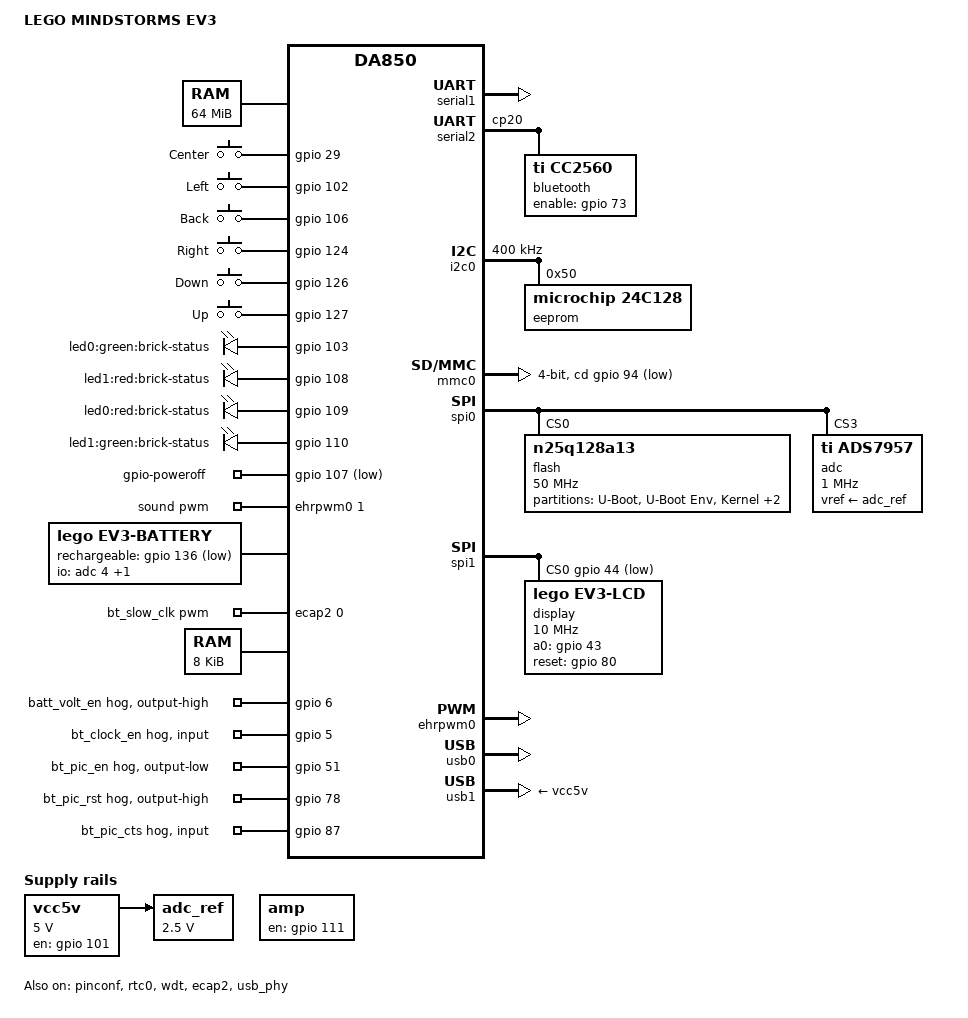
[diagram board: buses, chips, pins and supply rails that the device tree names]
/*
 * Device tree for LEGO MINDSTORMS EV3
 *
 * Copyright (C) 2017 David Lechner <david@lechnology.com>
 *
 * This program is free software; you can redistribute  it and/or modify it
 * under  the terms of  the GNU General  Public License as published by the
 * Free Software Foundation, version 2.
 */

/dts-v1/;
#include <dt-bindings/gpio/gpio.h>
#include <dt-bindings/input/linux-event-codes.h>
#include <dt-bindings/pwm/pwm.h>

#include "da850.dtsi"

/ {
	compatible = "lego,ev3", "ti,da850";
	model = "LEGO MINDSTORMS EV3";

	aliases {
		serial1 = &serial1;
	};

	memory@c0000000 {
		device_type = "memory";
		reg = <0xc0000000 0x04000000>;
	};

	/*
	 * The buttons on the EV3 are mapped to keyboard keys.
	 */
	gpio_keys {
		compatible = "gpio-keys";
		label = "EV3 Brick Buttons";
		pinctrl-names = "default";
		pinctrl-0 = <&button_bias>;

		center {
			label = "Center";
			linux,code = <KEY_ENTER>;
			gpios = <&gpio 29 GPIO_ACTIVE_HIGH>;
		};

		left {
			label = "Left";
			linux,code = <KEY_LEFT>;
			gpios = <&gpio 102 GPIO_ACTIVE_HIGH>;
		};

		back {
			label = "Back";
			linux,code = <KEY_BACKSPACE>;
			gpios = <&gpio 106 GPIO_ACTIVE_HIGH>;
		};

		right {
			label = "Right";
			linux,code = <KEY_RIGHT>;
			gpios = <&gpio 124 GPIO_ACTIVE_HIGH>;
		};

		down {
			label = "Down";
			linux,code = <KEY_DOWN>;
			gpios = <&gpio 126 GPIO_ACTIVE_HIGH>;
		};

		up {
			label = "Up";
			linux,code = <KEY_UP>;
			gpios = <&gpio 127 GPIO_ACTIVE_HIGH>;
		};
	};

	/*
	 * The EV3 has two built-in bi-color LEDs behind the buttons.
	 */
	leds {
		compatible = "gpio-leds";

		left_green {
			label = "led0:green:brick-status";
			/* GP6[13] */
			gpios = <&gpio 103 GPIO_ACTIVE_HIGH>;
			linux,default-trigger = "default-on";
		};

		right_red {
			label = "led1:red:brick-status";
			/* GP6[7] */
			gpios = <&gpio 108 GPIO_ACTIVE_HIGH>;
			linux,default-trigger = "default-on";
		};

		left_red {
			label = "led0:red:brick-status";
			/* GP6[12] */
			gpios = <&gpio 109 GPIO_ACTIVE_HIGH>;
			linux,default-trigger = "default-on";
		};

		right_green {
			label = "led1:green:brick-status";
			/* GP6[14] */
			gpios = <&gpio 110 GPIO_ACTIVE_HIGH>;
			linux,default-trigger = "default-on";
		};
	};

	/*
	 * The EV3 is powered down by turning off the main 5V supply.
	 */
	gpio-poweroff {
		compatible = "gpio-poweroff";
		gpios = <&gpio 107 GPIO_ACTIVE_LOW>;
	};

	sound {
		compatible = "pwm-beeper";
		pinctrl-names = "default";
		pinctrl-0 = <&ehrpwm0b_pins>;
		pwms = <&ehrpwm0 1 1000000 0>;
		amp-supply = <&amp>;
	};

	/*
	 * This is a 5V current limiting regulator that is shared by USB,
	 * the sensor (input) ports, the motor (output) ports and the A/DC.
	 */
	vcc5v: regulator1 {
		compatible = "regulator-fixed";
		regulator-name = "vcc5v";
		regulator-min-microvolt = <5000000>;
		regulator-max-microvolt = <5000000>;
		gpio = <&gpio 101 0>;
		over-current-gpios = <&gpio 99 GPIO_ACTIVE_LOW>;
		enable-active-high;
		regulator-boot-on;
	};

	/*
	 * This is a simple voltage divider on VCC5V to provide a 2.5V
	 * reference signal to the ADC.
	 */
	adc_ref: regulator2 {
		compatible = "regulator-fixed";
		regulator-name = "adc ref";
		regulator-min-microvolt = <2500000>;
		regulator-max-microvolt = <2500000>;
		regulator-boot-on;
		vin-supply = <&vcc5v>;
	};

	/*
	 * This is the amplifier for the speaker.
	 */
	amp: regulator3 {
		compatible = "regulator-fixed";
		regulator-name = "amp";
		gpio = <&gpio 111 GPIO_ACTIVE_HIGH>;
		enable-active-high;
	};

	/*
	 * The EV3 can use 6-AA batteries or a rechargeable Li-ion battery pack.
	 */
	battery {
		compatible = "lego,ev3-battery";
		io-channels = <&adc 4>, <&adc 3>;
		io-channel-names = "voltage", "current";
		rechargeable-gpios = <&gpio 136 GPIO_ACTIVE_LOW>;
	};

	bt_slow_clk: bt-clock {
		pinctrl-names = "default";
		pinctrl-0 = <&ecap2_pins>, <&bt_clock_bias>;
		compatible = "pwm-clock";
		#clock-cells = <0>;
		clock-frequency = <32768>;
		pwms = <&ecap2 0 30518 0>;
	};

	/* ARM local RAM */
	memory@ffff0000 {
		compatible = "syscon", "simple-mfd";
		reg = <0xffff0000 0x2000>; /* 8k */

		/*
		 * The I2C bootloader looks for this magic value to either
		 * boot normally or boot into a firmware update mode.
		 */
		reboot-mode {
			compatible = "syscon-reboot-mode";
			offset = <0x1ffc>;
			mode-normal = <0x00000000>;
			mode-loader = <0x5555aaaa>;
		};
	};
};

&ref_clk {
	clock-frequency = <24000000>;
};

&pmx_core {
	status = "okay";

	ev3_lcd_pins: pinmux_lcd {
		pinctrl-single,bits = <
			/* SIMO, CLK */
			0x14 0x00100100 0x00f00f00
		>;
	};
};

&pinconf {
	status = "okay";

	/* Buttons have external pulldown resistors */
	button_bias: button-bias-groups {
		disable {
			groups = "cp5", "cp24", "cp25", "cp28";
			bias-disable;
		};
	};

	bt_clock_bias: bt-clock-bias-groups {
		disable {
			groups = "cp2";
			bias-disable;
		};
	};

	bt_pic_bias: bt-pic-bias-groups {
		disable {
			groups = "cp20";
			bias-disable;
		};
	};
};

/* Input port 1 */
&serial1 {
	status = "okay";
	pinctrl-names = "default";
	pinctrl-0 = <&serial1_rxtx_pins>;
};

&serial2 {
	pinctrl-names = "default";
	pinctrl-0 = <&serial2_rxtx_pins>, <&serial2_rtscts_pins>, <&bt_pic_bias>;
	status = "okay";

	bluetooth {
		compatible = "ti,cc2560";
		clocks = <&bt_slow_clk>;
		clock-names = "ext_clock";
		enable-gpios = <&gpio 73 GPIO_ACTIVE_HIGH>;
		max-speed = <2000000>;
		nvmem-cells = <&bdaddr>;
		nvmem-cell-names = "bd-address";
	};
};

&rtc0 {
	status = "okay";
};

&i2c0 {
	status = "okay";
	clock-frequency = <400000>;
	pinctrl-names = "default";
	pinctrl-0 = <&i2c0_pins>;

	/*
	 * EEPROM contains the first stage bootloader, HW ID and Bluetooth MAC.
	 */
	eeprom@50 {
		compatible = "microchip,24c128", "atmel,24c128";
		pagesize = <64>;
		read-only;
		reg = <0x50>;
		#address-cells = <1>;
		#size-cells = <1>;

		bdaddr: bdaddr@3f06 {
			reg = <0x3f06 0x06>;
		};
	};
};

&wdt {
	status = "okay";
};

&mmc0 {
	status = "okay";
	max-frequency = <50000000>;
	bus-width = <4>;
	cd-gpios = <&gpio 94 GPIO_ACTIVE_LOW>;
	pinctrl-names = "default";
	pinctrl-0 = <&mmc0_pins>;
};

&spi0 {
	status = "okay";
	pinctrl-names = "default";
	pinctrl-0 = <&spi0_pins>, <&spi0_cs0_pin>, <&spi0_cs3_pin>;

	flash@0 {
		compatible = "n25q128a13", "jedec,spi-nor";
		reg = <0>;
		spi-max-frequency = <50000000>;
		ti,spi-wdelay = <8>;

		/* Partitions are based on the official firmware from LEGO */
		partitions {
			compatible = "fixed-partitions";
			#address-cells = <1>;
			#size-cells = <1>;

			partition@0 {
				label = "U-Boot";
				reg = <0 0x40000>;
			};

			partition@40000 {
				label = "U-Boot Env";
				reg = <0x40000 0x10000>;
			};

			partition@50000 {
				label = "Kernel";
				reg = <0x50000 0x200000>;
			};

			partition@250000 {
				label = "Filesystem";
				reg = <0x250000 0xa50000>;
			};

			partition@cb0000 {
				label = "Storage";
				reg = <0xcb0000 0x2f0000>;
			};
		};
	};

	adc: adc@3 {
		compatible = "ti,ads7957";
		reg = <3>;
		#io-channel-cells = <1>;
		spi-max-frequency = <1000000>;
		ti,spi-wdelay = <63>;
		vref-supply = <&adc_ref>;
	};
};

&spi1 {
	status = "okay";
	pinctrl-0 = <&ev3_lcd_pins>;
	pinctrl-names = "default";
	cs-gpios = <&gpio 44 GPIO_ACTIVE_LOW>;

	display@0{
		compatible = "lego,ev3-lcd";
		reg = <0>;
		spi-max-frequency = <10000000>;
		a0-gpios = <&gpio 43 GPIO_ACTIVE_HIGH>;
		reset-gpios = <&gpio 80 GPIO_ACTIVE_HIGH>;
	};
};

&ecap2 {
	status = "okay";
};

&ehrpwm0 {
	status = "okay";
};

&gpio {
	status = "okay";

	/* Don't pull down battery voltage adc io channel */
	batt_volt_en {
		gpio-hog;
		gpios = <6 GPIO_ACTIVE_HIGH>;
		output-high;
	};

	/* Don't impede Bluetooth clock signal */
	bt_clock_en {
		gpio-hog;
		gpios = <5 GPIO_ACTIVE_HIGH>;
		input;
	};

	/*
	 * There is a PIC microcontroller for interfacing with an Apple MFi
	 * chip. This interferes with normal Bluetooth operation, so we need
	 * to make sure it is turned off. Note: The publicly available
	 * schematics from LEGO don't show that these pins are connected to
	 * anything, but they are present in the source code from LEGO.
	 */

	bt_pic_en {
		gpio-hog;
		gpios = <51 GPIO_ACTIVE_HIGH>;
		output-low;
	};

	bt_pic_rst {
		gpio-hog;
		gpios = <78 GPIO_ACTIVE_HIGH>;
		output-high;
	};

	bt_pic_cts {
		gpio-hog;
		gpios = <87 GPIO_ACTIVE_HIGH>;
		input;
	};
};

&usb_phy {
	status = "okay";
};

&usb0 {
	status = "okay";
};

&usb1 {
	status = "okay";
	vbus-supply = <&vcc5v>;
};
